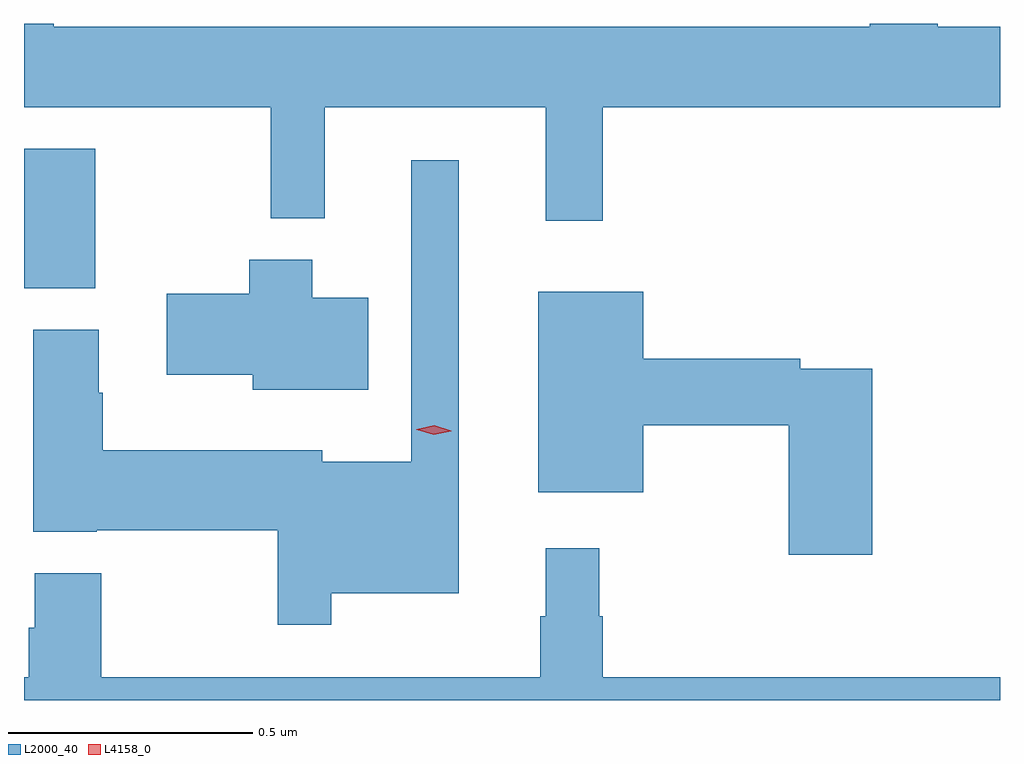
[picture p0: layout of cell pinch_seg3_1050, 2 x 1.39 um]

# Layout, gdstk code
import gdstk
lib = gdstk.Library(unit=1e-6, precision=1e-09)
def R(c, l, rs):  # rectangles x0, y0, x1, y1
    for r in rs: c.add(gdstk.rectangle(r[:2], r[2:], *l))
def P(c, l, *ps):  # polygons
    for p in ps: c.add(gdstk.Polygon(p, *l))
L2000_40 = (2000, 40)
L4158_0 = (4158, 0)

pinch_seg3_1050 = lib.new_cell('pinch_seg3_1050')
R(pinch_seg3_1050, L2000_40, [(586.687,667.245,586.833,667.531)])
P(pinch_seg3_1050, L2000_40, [(586.687,667.616),(587.193,667.616),(587.193,667.388),(587.303,667.388),(587.303,667.616),(587.756,667.616),(587.756,667.383),(587.873,667.383),(587.873,667.616),(588.687,667.616),(588.687,667.78),(588.559,667.78),(588.559,667.787),(588.42,667.787),(588.42,667.78),(586.748,667.78),(586.748,667.787),(586.687,667.787)],
  [(587.317,666.62),(587.578,666.62),(587.578,667.507),(587.481,667.507),(587.481,666.889),(587.298,666.889),(587.298,666.913),(586.848,666.913),(586.848,667.031),(586.84,667.031),(586.84,667.16),(586.706,667.16),(586.706,666.746),(586.836,666.746),(586.836,666.749),(587.207,666.749),(587.207,666.555),(587.317,666.555)],
  [(587.392,667.225),(587.278,667.225),(587.278,667.303),(587.149,667.303),(587.149,667.233),(586.98,667.233),(586.98,667.067),(587.156,667.067),(587.156,667.037),(587.392,667.037)],
  [(588.425,667.08),(588.278,667.08),(588.278,667.1),(587.956,667.1),(587.956,667.237),(587.741,667.237),(587.741,666.827),(587.956,666.827),(587.956,666.964),(588.254,666.964),(588.254,666.699),(588.425,666.699)],
  [(588.687,666.448),(587.873,666.448),(587.873,666.572),(587.866,666.572),(587.866,666.712),(587.756,666.712),(587.756,666.572),(587.745,666.572),(587.745,666.448),(586.845,666.448),(586.845,666.661),(586.709,666.661),(586.709,666.549),(586.697,666.549),(586.697,666.448),(586.687,666.448),(586.687,666.4),(588.687,666.4)])
P(pinch_seg3_1050, L4158_0, [(587.527,666.944),(587.492,666.955),(587.491,666.955),(587.492,666.956),(587.528,666.964),(587.563,666.953),(587.563,666.952),(587.563,666.952)])

lib.write_gds('pinch_seg3_1050.gds')
